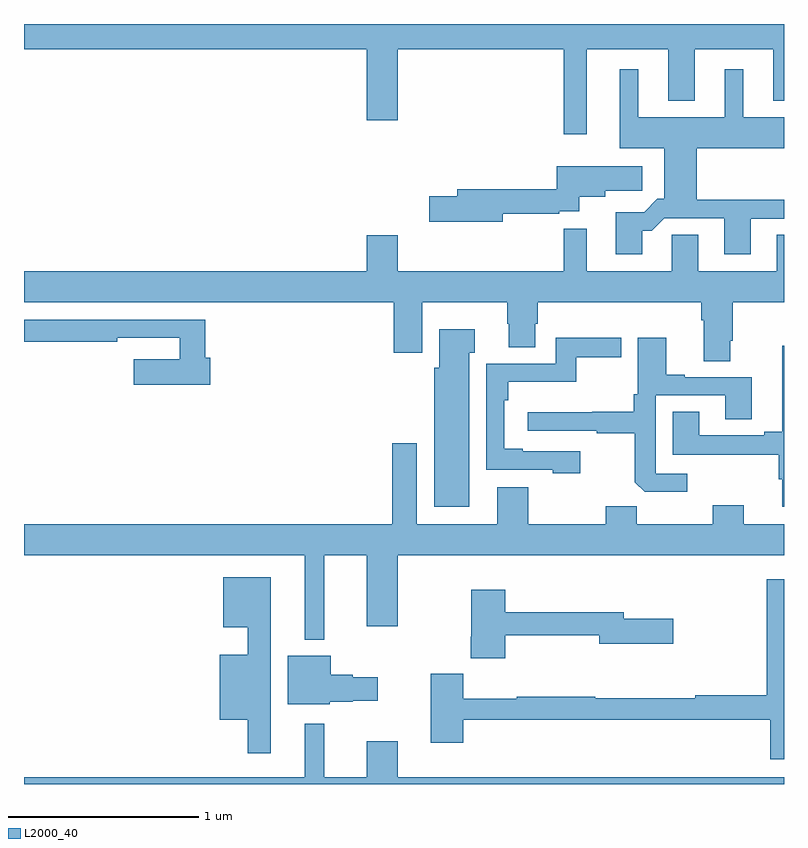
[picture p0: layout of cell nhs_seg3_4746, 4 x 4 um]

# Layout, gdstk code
import gdstk
lib = gdstk.Library(unit=1e-6, precision=1e-09)
def P(c, l, *ps):  # polygons
    for p in ps: c.add(gdstk.Polygon(p, *l))
L2000_40 = (2000, 40)

nhs_seg3_4746 = lib.new_cell('nhs_seg3_4746')
P(nhs_seg3_4746, L2000_40, [(369.961,682.268),(370.391,682.268),(370.391,681.995),(370.531,681.995),(370.531,682.268),(370.943,682.268),(370.943,681.995),(371,681.995),(371,682.4),(367,682.4),(367,682.268),(368.804,682.268),(368.804,681.894),(368.968,681.894),(368.968,682.268),(369.84,682.268),(369.84,681.819),(369.961,681.819)],
  [(370.255,681.311),(370.304,681.311),(370.371,681.378),(370.685,681.378),(370.685,681.189),(370.825,681.189),(370.825,681.375),(371,681.375),(371,681.476),(370.541,681.476),(370.541,681.746),(371,681.746),(371,681.91),(370.786,681.91),(370.786,682.162),(370.688,682.162),(370.688,681.91),(370.234,681.91),(370.234,682.162),(370.136,682.162),(370.136,681.746),(370.37,681.746),(370.37,681.479),(370.334,681.479),(370.264,681.409),(370.115,681.409),(370.115,681.189),(370.255,681.189)],
  [(369.52,681.402),(369.818,681.402),(369.818,681.414),(369.923,681.414),(369.923,681.491),(370.06,681.491),(370.06,681.523),(370.255,681.523),(370.255,681.652),(369.805,681.652),(369.805,681.53),(369.281,681.53),(369.281,681.494),(369.132,681.494),(369.132,681.359),(369.52,681.359)],
  [(370.717,680.734),(370.73,680.734),(370.73,680.936),(371,680.936),(371,681.29),(370.961,681.29),(370.961,681.1),(370.549,681.1),(370.549,681.29),(370.41,681.29),(370.41,681.1),(369.961,681.1),(369.961,681.322),(369.84,681.322),(369.84,681.1),(368.968,681.1),(368.968,681.289),(368.804,681.289),(368.804,681.1),(367,681.1),(367,680.936),(368.945,680.936),(368.945,680.67),(369.097,680.67),(369.097,680.936),(369.544,680.936),(369.544,680.823),(369.551,680.823),(369.551,680.698),(369.691,680.698),(369.691,680.823),(369.704,680.823),(369.704,680.936),(370.565,680.936),(370.565,680.84),(370.577,680.84),(370.577,680.626),(370.717,680.626)],
  [(367.979,680.643),(367.955,680.643),(367.955,680.844),(367,680.844),(367,680.728),(367.49,680.728),(367.49,680.748),(367.819,680.748),(367.819,680.635),(367.578,680.635),(367.578,680.501),(367.979,680.501)],
  [(369.343,680.669),(369.373,680.669),(369.373,680.794),(369.185,680.794),(369.185,680.592),(369.158,680.592),(369.158,679.859),(369.343,679.859)],
  [(369.928,680.151),(369.625,680.151),(369.625,680.164),(369.528,680.164),(369.528,680.42),(369.548,680.42),(369.548,680.516),(369.907,680.516),(369.907,680.647),(370.144,680.647),(370.144,680.75),(369.798,680.75),(369.798,680.613),(369.432,680.613),(369.432,680.055),(369.783,680.055),(369.783,680.036),(369.928,680.036)],
  [(370.492,680.034),(370.326,680.034),(370.326,680.445),(370.691,680.445),(370.691,680.32),(370.831,680.32),(370.831,680.541),(370.477,680.541),(370.477,680.554),(370.381,680.554),(370.381,680.749),(370.23,680.749),(370.23,680.452),(370.21,680.452),(370.21,680.36),(369.991,680.36),(369.991,680.356),(369.651,680.356),(369.651,680.259),(370.015,680.259),(370.015,680.247),(370.215,680.247),(370.215,679.989),(370.267,679.938),(370.492,679.938)],
  [(371,680.707),(370.991,680.707),(370.991,680.255),(370.895,680.255),(370.895,680.235),(370.555,680.235),(370.555,680.36),(370.415,680.36),(370.415,680.134),(370.972,680.134),(370.972,680.003),(370.991,680.003),(370.991,679.86),(371,679.86)],
  [(368.581,679.604),(368.804,679.604),(368.804,679.23),(368.968,679.23),(368.968,679.604),(371,679.604),(371,679.768),(370.789,679.768),(370.789,679.867),(370.625,679.867),(370.625,679.768),(370.225,679.768),(370.225,679.861),(370.061,679.861),(370.061,679.768),(369.655,679.768),(369.655,679.963),(369.491,679.963),(369.491,679.768),(369.067,679.768),(369.067,680.194),(368.939,680.194),(368.939,679.768),(367,679.768),(367,679.604),(368.477,679.604),(368.477,679.16),(368.581,679.16)],
  [(368.299,679.489),(368.048,679.489),(368.048,679.226),(368.178,679.226),(368.178,679.081),(368.03,679.081),(368.03,678.737),(368.178,678.737),(368.178,678.561),(368.299,678.561)],
  [(371,679.477),(370.909,679.477),(370.909,678.866),(370.532,678.866),(370.532,678.851),(370.007,678.851),(370.007,678.859),(369.594,678.859),(369.594,678.848),(369.311,678.848),(369.311,678.979),(369.14,678.979),(369.14,678.618),(369.311,678.618),(369.311,678.738),(370.928,678.738),(370.928,678.531),(371,678.531)],
  [(369.533,679.182),(370.028,679.182),(370.028,679.139),(370.417,679.139),(370.417,679.269),(370.156,679.269),(370.156,679.303),(369.533,679.303),(369.533,679.423),(369.355,679.423),(369.355,679.174),(369.35,679.174),(369.35,679.062),(369.533,679.062)],
  [(368.61,678.832),(368.73,678.832),(368.73,678.839),(368.863,678.839),(368.863,678.961),(368.73,678.961),(368.73,678.974),(368.614,678.974),(368.614,679.075),(368.387,679.075),(368.387,678.821),(368.61,678.821)],
  [(371,678.436),(368.968,678.436),(368.968,678.625),(368.804,678.625),(368.804,678.436),(368.581,678.436),(368.581,678.718),(368.477,678.718),(368.477,678.436),(367,678.436),(367,678.4),(371,678.4)])

lib.write_gds('nhs_seg3_4746.gds')
